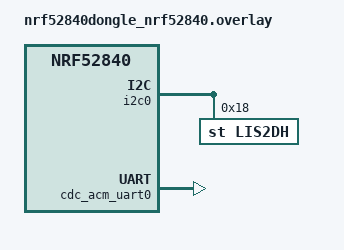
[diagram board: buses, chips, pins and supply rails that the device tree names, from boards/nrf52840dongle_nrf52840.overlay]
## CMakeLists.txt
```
#
# Copyright (c) 2018, Yannis Damigos
#
# SPDX-License-Identifier: Apache-2.0
#

cmake_minimum_required(VERSION 3.20.0)
find_package(Zephyr REQUIRED HINTS $ENV{ZEPHYR_BASE})
project(lis3dh)

FILE(GLOB app_sources src/*.c)
target_sources(app PRIVATE ${app_sources})
```

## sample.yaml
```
sample:
  name: LIS3DH Accelerometer Monitor
tests:
  sample.sensor.lis3dh:
    harness: sensor
    tags: samples sensor
    depends_on: i2c lis3dh
```

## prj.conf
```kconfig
CONFIG_STDOUT_CONSOLE=y
CONFIG_I2C=y
CONFIG_SENSOR=y
CONFIG_CBPRINTF_FP_SUPPORT=y

CONFIG_USB_DEVICE_STACK=y
CONFIG_USB_DEVICE_PRODUCT="Zephyr USB console sample"

CONFIG_SERIAL=y
CONFIG_CONSOLE=y
CONFIG_UART_CONSOLE=y
CONFIG_UART_LINE_CTRL=y
```

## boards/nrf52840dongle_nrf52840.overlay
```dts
&i2c0 {
	lis2dh@18 {
		compatible = "st,lis2dh";
		reg = <0x18>;
		status = "okay";
	};
};
/ {
	chosen {
		zephyr,console = &cdc_acm_uart0;
	};
};

&zephyr_udc0 {
	cdc_acm_uart0: cdc_acm_uart0 {
		compatible = "zephyr,cdc-acm-uart";
	};
};
```

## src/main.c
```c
#include <stdio.h>
#include <zephyr/zephyr.h>
#include <zephyr/device.h>
#include <zephyr/drivers/sensor.h>
#include <zephyr/sys/printk.h>
#include <zephyr/usb/usb_device.h>
#include <zephyr/drivers/uart.h>

#include <zephyr/sys/util.h>
#include <zephyr/drivers/i2c.h>



static void fetch_and_display(const struct device *sensor)
{
	static unsigned int count;
	struct sensor_value accel[3];
	const char *overrun = "";
	int rc = sensor_sample_fetch(sensor);

	
	++count;
	if (rc == -EBADMSG) {
		/* Sample overrun.  Ignore in polled mode. */
		if (IS_ENABLED(CONFIG_LIS3DH_TRIGGER)) {
			overrun = "[OVERRUN] ";
		}
		rc = 0;
	}
	if (rc == 0) {
		rc = sensor_channel_get(sensor,
					SENSOR_CHAN_ACCEL_XYZ,
					accel);
	}
	if (rc < 0) {
		printk("ERROR: Update failed: %d\n", rc);
	} else {
		printk("#%u @ %u ms: %sx %f , y %f , z %f",
		       count, k_uptime_get_32(), overrun,
		       sensor_value_to_double(&accel[0]),
		       sensor_value_to_double(&accel[1]),
		       sensor_value_to_double(&accel[2]));
	}
}

#ifdef CONFIG_LIS3DH_TRIGGER
static void trigger_handler(const struct device *dev,
			    const struct sensor_trigger *trig)
{
	fetch_and_display(dev);
}
#endif

void main(void)
{
	const struct device *dev1 = DEVICE_DT_GET(DT_CHOSEN(zephyr_console));
	uint32_t dtr = 0;
	const struct device *sensor = DEVICE_DT_GET_ANY(st_lis3dh);

	if (usb_enable(NULL)) {
		return;
	}

	/* Poll if the DTR flag was set */
	while (!dtr) {
		uart_line_ctrl_get(dev1, UART_LINE_CTRL_DTR, &dtr);
		/* Give CPU resources to low priority threads. */
		k_sleep(K_MSEC(100));
	}

	if (sensor == NULL) {
		printk("No device found\n");
		return;
	}
	if (!device_is_ready(sensor)) {
		printk("Device %s is not ready\n", sensor->name);
		return;
	}

#if CONFIG_LIS3DH_TRIGGER
	{
		struct sensor_trigger trig;
		int rc;

		trig.type = SENSOR_TRIG_DATA_READY;
		trig.chan = SENSOR_CHAN_ACCEL_XYZ;

		if (IS_ENABLED(CONFIG_LIS3DH_ODR_RUNTIME)) {
			struct sensor_value odr = {
				.val1 = 1,
			};

			rc = sensor_attr_set(sensor, trig.chan,
					     SENSOR_ATTR_SAMPLING_FREQUENCY,
					     &odr);
			if (rc != 0) {
				printk("Failed to set odr: %d\n", rc);
				return;
			}
			printk("Sampling at %u Hz\n", odr.val1);
		}

		rc = sensor_trigger_set(sensor, &trig, trigger_handler);
		if (rc != 0) {
			printk("Failed to set trigger: %d\n", rc);
			return;
		}

		printk("Waiting for triggers\n");
		while (true) {
			k_sleep(K_MSEC(2000));
		}
	}
#else /* CONFIG_LIS3DH_TRIGGER */
	printk("Polling at 0.5 Hz\n");
	while (true) {
		fetch_and_display(sensor);
		k_sleep(K_MSEC(2000));
	}
#endif /* CONFIG_LIS3DH_TRIGGER */
}
```
